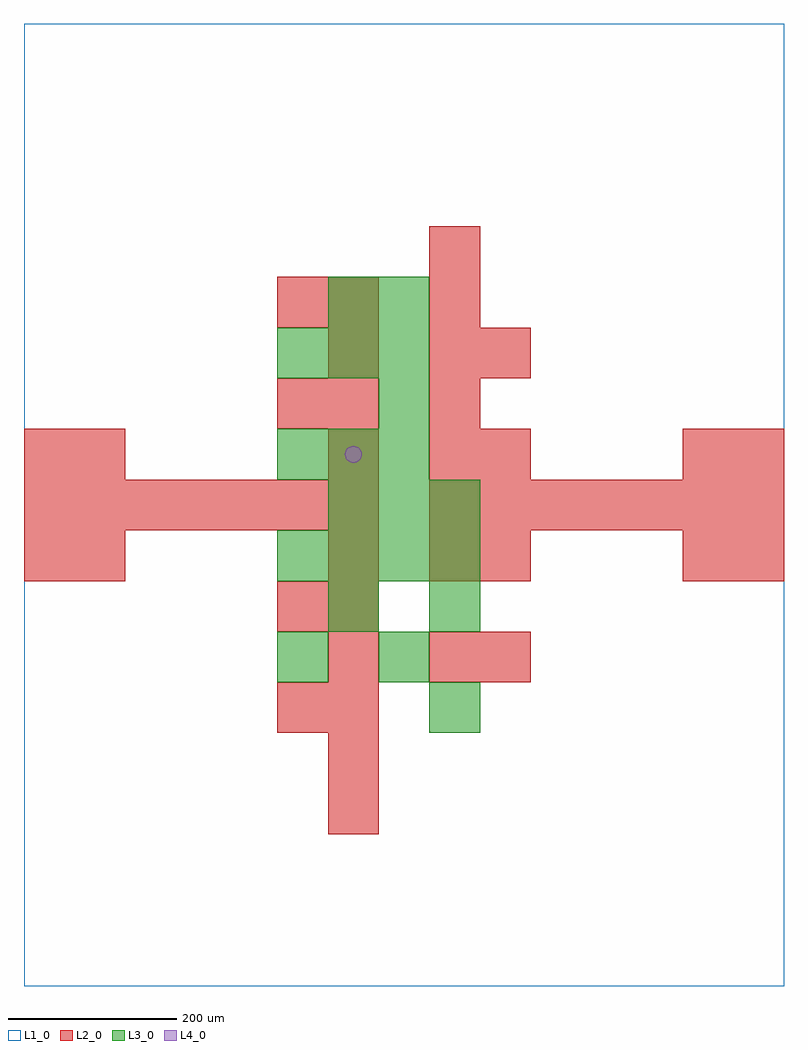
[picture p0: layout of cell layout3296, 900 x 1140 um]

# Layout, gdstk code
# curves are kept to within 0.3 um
import gdstk
lib = gdstk.Library(unit=1e-6, precision=1e-09)
def R(c, l, rs):  # rectangles x0, y0, x1, y1
    for r in rs: c.add(gdstk.rectangle(r[:2], r[2:], *l))
def A(c, l, x, y, w, h, nx, ny, dx, dy):  # array of equal rectangles
    R(c, l, [(x+i*dx, y+j*dy, x+i*dx+w, y+j*dy+h) for i in range(nx) for j in range(ny)])
def P(c, l, *ps):  # polygons
    for p in ps: c.add(gdstk.Polygon(p, *l))
L1_0 = (1, 0)
L2_0 = (2, 0)
L3_0 = (3, 0)
L4_0 = (4, 0)

layout3296 = lib.new_cell('layout3296')
R(layout3296, L1_0, [(0,0,900,1140)])
A(layout3296, L2_0, 360, 180, 60, 60, 1, 6, 0, 60)
A(layout3296, L2_0, 480, 360, 60, 60, 1, 3, 0, 120)
A(layout3296, L2_0, 540, 360, 60, 60, 1, 4, 0, 120)
A(layout3296, L2_0, 0, 540, 60, 60, 7, 1, 60, 0)
A(layout3296, L2_0, 480, 540, 60, 60, 7, 1, 60, 0)
A(layout3296, L2_0, 360, 600, 60, 60, 1, 4, 0, 60)
A(layout3296, L2_0, 480, 660, 60, 60, 1, 4, 0, 60)
R(layout3296, L2_0, [(300,300,360,360), (300,420,360,480), (0,480,60,540), (60,480,120,540), (780,480,840,540), (840,480,900,540), (0,600,60,660), (60,600,120,660), (780,600,840,660), (840,600,900,660), (300,660,360,720), (300,780,360,840)])
A(layout3296, L3_0, 300, 480, 60, 60, 4, 1, 60, 0)
A(layout3296, L3_0, 360, 540, 60, 60, 3, 1, 60, 0)
A(layout3296, L3_0, 300, 600, 60, 60, 3, 2, 60, 120)
R(layout3296, L3_0, [(480,300,540,360), (300,360,360,420), (420,360,480,420), (360,420,420,480), (480,420,540,480), (420,660,480,720), (360,780,420,840), (420,780,480,840)])
P(layout3296, L4_0, [(400,630),(399.239,633.827),(397.071,637.071),(393.827,639.239),(390,640),(386.173,639.239),(382.929,637.071),(380.761,633.827),(380,630),(380.761,626.173),(382.929,622.929),(386.173,620.761),(390,620),(393.827,620.761),(397.071,622.929),(399.239,626.173)])

lib.write_gds('layout3296.gds')
